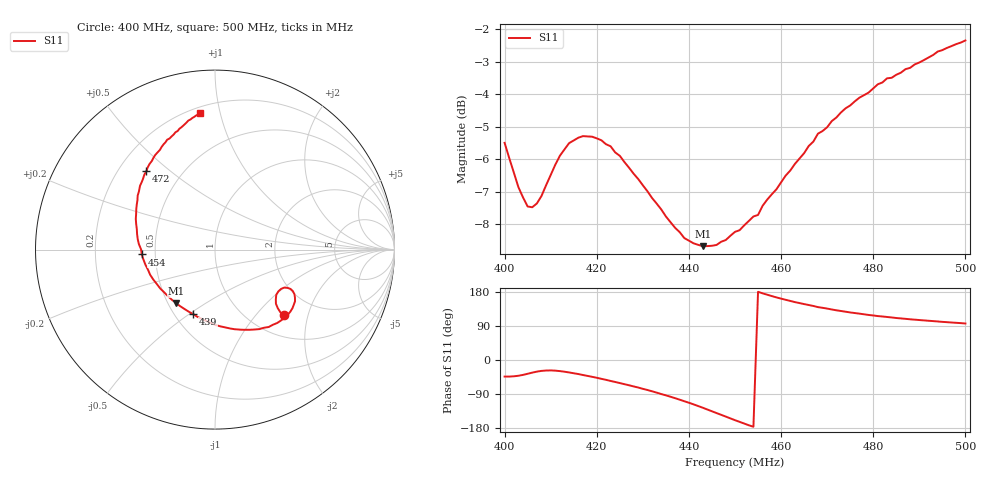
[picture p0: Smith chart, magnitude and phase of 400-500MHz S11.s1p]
# Hz S RI R 50
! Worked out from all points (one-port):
!   101 points, 400 MHz to 500 MHz, reference 50 ohm
!   lowest |S11| = -8.7 dB at 443 MHz (marker M1), VSWR 2.17, Z = 27.6 - j19 ohm
!   |S11| at or under -10 dB: nowhere
!   S11 on the Smith chart (normalised r, x): 400 MHz: 1.40, -1.43; 439 MHz: 0.62, -0.52; 454 MHz: 0.42, -0.03; 472 MHz: 0.31, +0.42; 500 MHz: 0.24, +0.87
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4e8  0.3841 -0.3671
4.03e8  0.3395 -0.3014
4.05e8  0.3414 -0.2515
4.06e8  0.3533 -0.2324
4.08e8  0.3858 -0.2116
4.09e8  0.4043 -0.2134
4.11e8  0.4337 -0.2316
4.13e8  0.4454 -0.2666
4.16e8  0.4318 -0.3259
4.19e8  0.3879 -0.3799
4.23e8  0.299 -0.4313
4.25e8  0.2473 -0.443
4.31e8  0.0843 -0.4395
4.38e8  -0.0985 -0.3744
4.39e8  -0.1223 -0.3589
4.43e8  -0.2162 -0.2983
4.47e8  -0.3053 -0.2164
4.5e8  -0.3615 -0.1399
4.54e8  -0.4084 -0.0271
4.58e8  -0.4342 0.0873
4.63e8  -0.4385 0.2254
4.68e8  -0.4177 0.3559
4.72e8  -0.3824 0.4376
4.75e8  -0.3518 0.494
4.81e8  -0.2855 0.5881
4.88e8  -0.2076 0.6611
4.94e8  -0.1485 0.7189
5e8  -0.0842 0.7589
